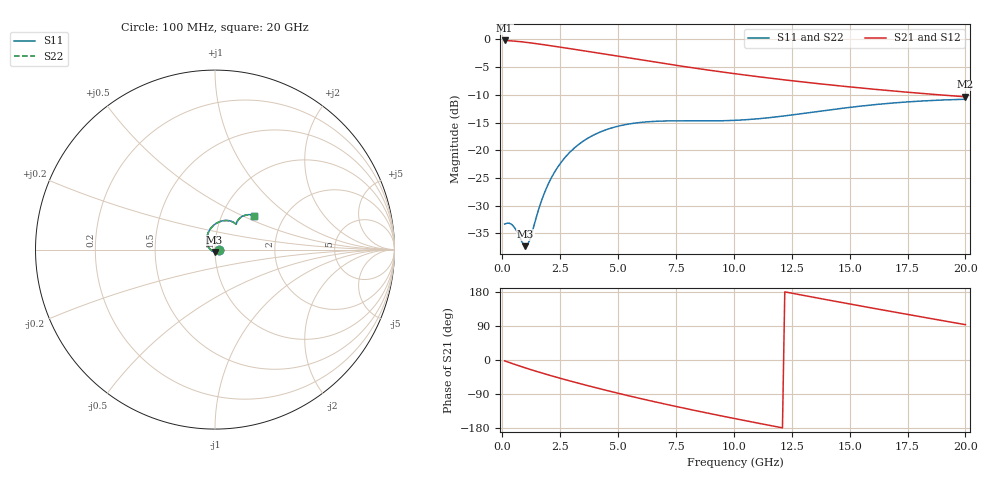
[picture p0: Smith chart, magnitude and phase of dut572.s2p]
! Touchstone file exported from HFSS 2024.1.0
!  File:  C:/UserFiles/LocalFiles/RDL_TSV_Batchsim/temp_RDL_TSV_572_1779754738.aedt
!  Generated:  08:33:12 AM May 26, 2026
!  Design:  RDL_TSV
!  Project:  temp_RDL_TSV_572_1779754738
!  Setup:  Setup1
!  Solution:  Sweep
! Variables:
!  dtsv = 14.73um
!  hbump = 3um
!  htsv = 58.52um
!  ldown = 544.76um
!  lrdl = 628.58um
!  p = 40
!  p1 = 40.38um
!  rhole = 10um
!  subl = 4148.6um
!  t = 450um
!  tdown = 3.23um
!  trdl = 2.72um
!  viad = 10um
!  wdown = 27.39um
!  wrdl = 22.01um
!  xbump = 18um
# GHz S MA R 50.000000
! Terminal data exported
! Port[1] = TM1_1_T1
! Port[2] = TM1_4_T1
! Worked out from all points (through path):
!   200 points, 100 MHz to 20 GHz, reference 50 ohm
!   highest |S21| = -0.20 dB at 100 MHz (marker M1); lowest = -10.4 dB at 20 GHz (marker M2)
!   group delay of S21, straight-line fit = 35.6 ps
!   lowest |S11| = -37.3 dB at 1 GHz (marker M3), VSWR 1.03, Z = 49.7 - j1.33 ohm
!   |S11| at or under -10 dB: start of sweep to end of sweep
!   |S22| runs from -37.3 to -10.9 dB; largest |S21 - S12| = 1.1e-14
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0.1  0.02159 -3.0  0.9778 -2.2  0.9778 -2.2  0.02159 -3.0
! Gamma 0 0 0 0
! Port Impedance 50 0 50 0
0.3  0.02199 -13.6  0.9725 -6.6  0.9725 -6.6  0.022 -13.6
0.5  0.02046 -29.6  0.9654 -10.8  0.9654 -10.8  0.02047 -29.6
1  0.01364 -101.5  0.9422 -20.9  0.9422 -20.9  0.01366 -101.3
1.1  0.01412 -122.7  0.9368 -22.9  0.9368 -22.9  0.01412 -122.5
1.2  0.01584 -142.3  0.9311 -24.8  0.9311 -24.8  0.01581 -142.1
1.7  0.03536 162.7  0.9009 -34.2  0.9009 -34.2  0.03523 162.8
2.2  0.06054 137.9  0.8695 -43.1  0.8695 -43.1  0.06032 137.9
2.8  0.09044 118.3  0.8324 -53.3  0.8324 -53.3  0.09012 118.3
3.5  0.121 101.3  0.7904 -64.7  0.7904 -64.7  0.1206 101.3
4.2  0.1452 88.1  0.75 -75.7  0.75 -75.7  0.1447 88.0
5  0.1648 76.1  0.7056 -87.7  0.7056 -87.7  0.1642 76.0
5.9  0.1776 65.8  0.6584 -100.8  0.6584 -100.8  0.1769 65.7
6.8  0.1831 58.4  0.6148 -113.2  0.6148 -113.2  0.1824 58.3
8.4  0.1839 51.4  0.5471 -134.3  0.5471 -134.3  0.1832 51.3
10.1  0.1864 50.5  0.4883 -155.3  0.4883 -155.3  0.1856 50.3
11.7  0.1985 51.7  0.4433 -174.4  0.4433 -174.4  0.1975 51.6
13.4  0.2204 52.0  0.4038 166.0  0.4038 166.0  0.2192 51.8
15.1  0.2449 50.1  0.3711 146.8  0.3711 146.8  0.2434 50.0
16.7  0.2649 47.2  0.3451 129.1  0.3451 129.1  0.2632 47.0
18.3  0.2794 43.9  0.3231 111.6  0.3231 111.6  0.2774 43.7
20  0.2883 40.7  0.3035 93.3  0.3035 93.3  0.2861 40.6
